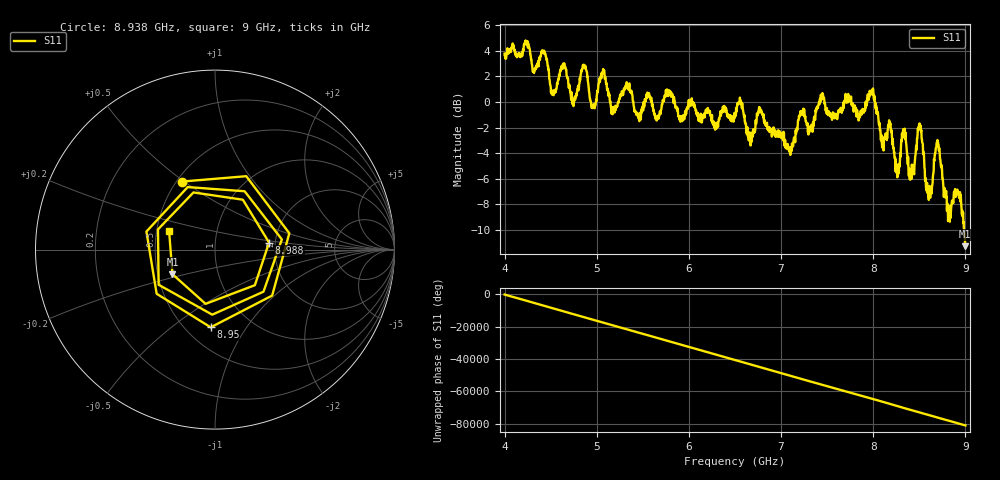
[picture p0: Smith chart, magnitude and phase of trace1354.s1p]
! Created with skrf 1.8.0 (http://scikit-rf.org).
# Hz S RI R 50.0
!freq ReS11 ImS11
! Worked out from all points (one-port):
!   1601 points, 4 GHz to 9 GHz, reference 50 ohm
!   lowest |S11| = -11.3 dB at 8.997 GHz (marker M1), VSWR 1.75, Z = 29.9 - j8.86 ohm
!   |S11| at or under -10 dB: 8.984582 GHz to end of sweep
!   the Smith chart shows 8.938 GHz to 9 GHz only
!   S11 on the Smith chart (normalised r, x): 8.938 GHz: 0.53, +0.49; 8.95 GHz: 0.66, -0.70; 8.988 GHz: 1.85, +0.16; 9 GHz: 0.58, +0.13
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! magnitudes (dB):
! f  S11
! 4 GHz  3.8
! 4.422 GHz  3.9
! 4.528 GHz  0.8
! 4.625 GHz  2.6
! 4.741 GHz  0.0
! 4.859 GHz  2.9
! 4.959 GHz  -0.3
! 5.062 GHz  2.3
! 5.25 GHz  0.3
! 5.875 GHz  -0.5
! 6.5 GHz  -1.0
! 7.125 GHz  -3.4
! 7.225 GHz  -0.9
! 7.75 GHz  0.4
! 7.988 GHz  0.9
! 8.259 GHz  -5.6
! 8.328 GHz  -2.4
! 8.375 GHz  -4.9
! 8.422 GHz  -5.3
! 8.503 GHz  -2.1
! 8.597 GHz  -7.4
! 8.697 GHz  -3.0
! 8.819 GHz  -8.9
! 8.938 GHz  -7.5
! 8.95 GHz  -7.3
! 8.988 GHz  -10.3
! 8.997 GHz  -11.3
! 9 GHz  -11.2
